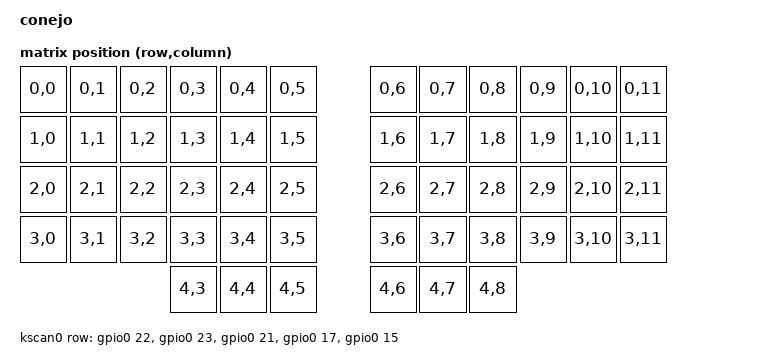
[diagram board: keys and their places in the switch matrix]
/*
 * Copyright (c) 2022 Kurtis Lew
 *
 * SPDX-License-Identifier: MIT
 */

/dts-v1/;
#include <nordic/nrf52840_qiaa.dtsi>
#include "conejo-pinctrl.dtsi"
#include <dt-bindings/zmk/matrix_transform.h>
#include <dt-bindings/led/led.h>

/ {
	model = "conejo";
	compatible = "conejo";

	chosen {
		zephyr,code-partition = &code_partition;
		zephyr,sram = &sram0;
		zephyr,flash = &flash0;
		zephyr,console = &cdc_acm_uart;
		zmk,battery = &fuel_gauge;
		zmk,kscan = &kscan0;
		zmk,matrix_transform = &default_transform;
		zmk,underglow = &led_strip;
	};

	default_transform: keymap_transform_0 {
		compatible = "zmk,matrix-transform";
		columns = <12>;
		rows = <5>;
// | SW6  | SW5  | SW4  | SW3  | SW2  | SW1  |                 | SW1  | SW2  | SW3  | SW4  | SW5  | SW6  |
// | SW12 | SW11 | SW10 | SW9  | SW8  | SW7  |                 | SW7  | SW8  | SW9  | SW10 | SW11 | SW12 |
// | SW18 | SW17 | SW16 | SW15 | SW14 | SW13 |                 | SW13 | SW14 | SW15 | SW16 | SW17 | SW18 |
// | SW24 | SW23 | SW22 | SW21 | SW20 | SW19 | SW25 |   | SW25 | SW19 | SW20 | SW21 | SW22 | SW23 | SW24 |
//                      | SW29 | SW28 | SW27 |      |   |      | SW27 | SW28 | SW29 |
		map = <
RC(0,0) RC(0,1) RC(0,2) RC(0,3) RC(0,4) RC(0,5)                 RC(0,6) RC(0,7) RC(0,8) RC(0,9) RC(0,10) RC(0,11)
RC(1,0) RC(1,1) RC(1,2) RC(1,3) RC(1,4) RC(1,5)                 RC(1,6) RC(1,7) RC(1,8) RC(1,9) RC(1,10) RC(1,11)
RC(2,0) RC(2,1) RC(2,2) RC(2,3) RC(2,4) RC(2,5)                 RC(2,6) RC(2,7) RC(2,8) RC(2,9) RC(2,10) RC(2,11)
RC(3,0) RC(3,1) RC(3,2) RC(3,3) RC(3,4) RC(3,5)                 RC(3,6) RC(3,7) RC(3,8) RC(3,9) RC(3,10) RC(3,11)
                        	RC(4,3) RC(4,4) RC(4,5)         RC(4,6) RC(4,7) RC(4,8)
		>;
	};

	kscan0: kscan {
		compatible = "zmk,kscan-gpio-matrix";

		diode-direction = "col2row";
		row-gpios
			= <&gpio0 22 (GPIO_ACTIVE_HIGH | GPIO_PULL_DOWN)>
			, <&gpio0 23 (GPIO_ACTIVE_HIGH | GPIO_PULL_DOWN)>
			, <&gpio0 21 (GPIO_ACTIVE_HIGH | GPIO_PULL_DOWN)>
			, <&gpio0 17 (GPIO_ACTIVE_HIGH | GPIO_PULL_DOWN)>
			, <&gpio0 15 (GPIO_ACTIVE_HIGH | GPIO_PULL_DOWN)>
			;
	};

	ext-power {
		compatible = "zmk,ext-power-generic";
		control-gpios = <&gpio0 19 GPIO_ACTIVE_HIGH>;
	};
};

&adc {
	status = "okay";
};

&gpiote {
	status = "okay";
};

&gpio0 {
	status = "okay";
};

&gpio1 {
	status = "okay";
};

&i2c0 {
	compatible = "nordic,nrf-twim";
    status = "okay";
	pinctrl-0 = <&i2c0_default>;
    pinctrl-1 = <&i2c0_sleep>;
    pinctrl-names = "default", "sleep";
    clock-frequency = <100000>;

    fuel_gauge: max17048@36 {
		compatible = "zmk,maxim-max17048";
        status = "okay";
        reg = <0x36>;
	};
};

&spi1 {
	compatible = "nordic,nrf-spim";
	status = "okay";
    pinctrl-0 = <&spi1_default>;
    pinctrl-1 = <&spi1_sleep>;
    pinctrl-names = "default", "sleep";

	led_strip: ws2812@0 {
		compatible = "worldsemi,ws2812-spi";

		/* SPI */
		reg = <0>; /* ignored, but necessary for SPI bindings */
		spi-max-frequency = <4000000>;

		/* WS2812 */
		chain-length = <6>; /* LED strip length */
		spi-one-frame = <0x70>;
		spi-zero-frame = <0x40>;
		color-mapping = <LED_COLOR_ID_GREEN LED_COLOR_ID_RED LED_COLOR_ID_BLUE>;
	};
};

&usbd {
	status = "okay";
	cdc_acm_uart: cdc_acm_uart {
		compatible = "zephyr,cdc-acm-uart";
	};
};

&flash0 {
	/*
	 * For more information, see:
	 * http://docs.zephyrproject.org/latest/devices/dts/flash_partitions.html
	 */
	partitions {
		compatible = "fixed-partitions";
		#address-cells = <1>;
		#size-cells = <1>;

		sd_partition: partition@0 {
			reg = <0x00000000 0x00001000>;
		};

		code_partition: partition@1000 {
			reg = <0x00001000 0x000d3000>;
		};

		/*
		 * The flash starting at 0x000d4000 and ending at
		 * 0x000f3fff is reserved for use by the application.
		 */

		/*
		 * Storage partition will be used by FCB/LittleFS/NVS
		 * if enabled.
		 */
		storage_partition: partition@d4000 {
			reg = <0x000d4000 0x00020000>;
		};

		boot_partition: partition@f4000 {
			reg = <0x000f4000 0x0000c000>;
		};
	};
};
